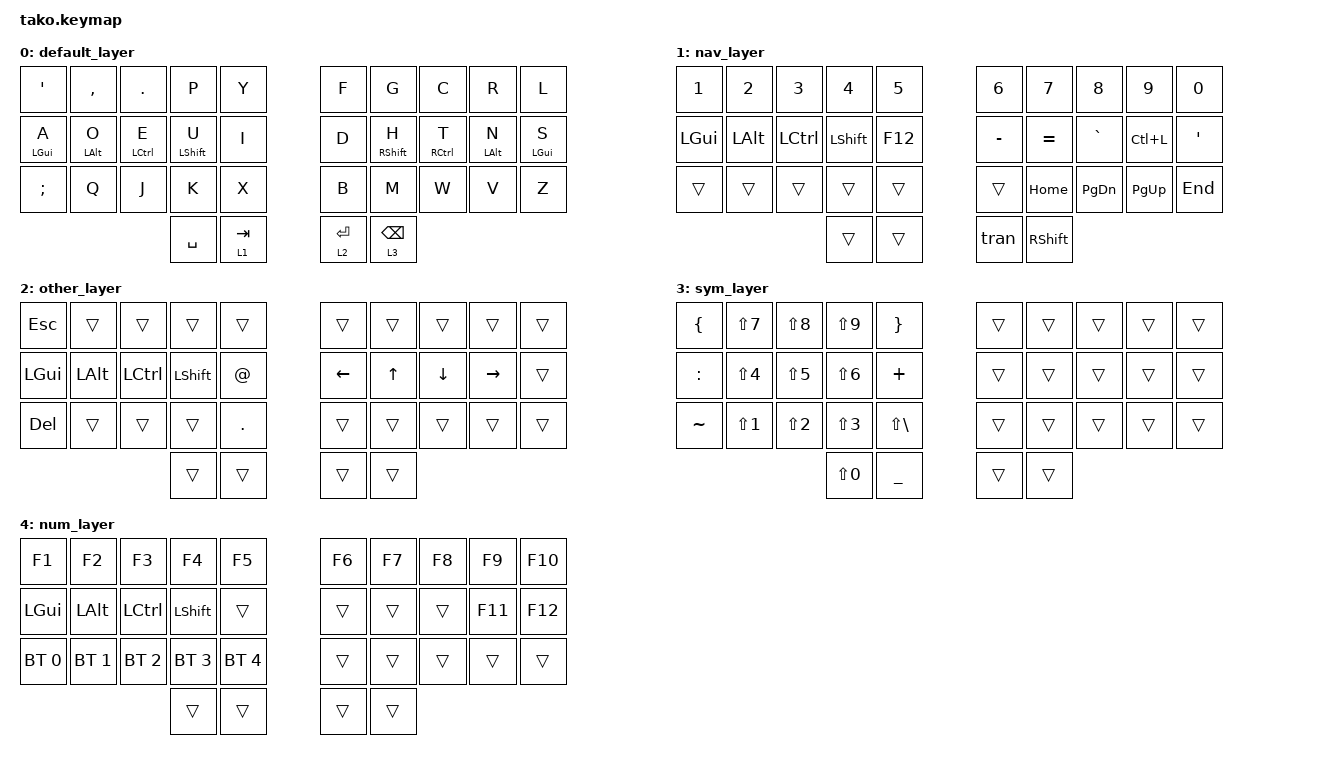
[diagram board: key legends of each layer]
/*
 * Copyright (c) 2020 The ZMK Contributors
 *
 * SPDX-License-Identifier: MIT
 */

#include <behaviors.dtsi>
#include <dt-bindings/zmk/bt.h>
#include <dt-bindings/zmk/keys.h>

#define NAV_L 1
#define OTHER_L 2
#define NUM_L 3
#define SYM_L 4

// Using layer taps on thumbs, having quick tap as well helps w/ repeating space/backspace

&lt { quick_tap_ms = <150>; };

/ {
    conditional_layers {
        compatible = "zmk,conditional-layers";
        tri_layer {
            if-layers = <1 2>;
            then-layer = <4>;
        };
    };

    behaviors {
        hm: homerow_mods {
            compatible = "zmk,behavior-hold-tap";
            label = "homerow mods";
            #binding-cells = <2>;
            tapping_term_ms = <150>;
            flavor = "tap-preferred";
            bindings = <&kp>, <&kp>;
        };
    };

    combos {
        compatible = "zmk,combos";

        left_bkt {
            bindings = <&kp LEFT_BRACKET>;
            key-positions = <2 3>;
        };

        right_bkt {
            bindings = <&kp RBKT>;
            key-positions = <7 6>;
        };

        left_par {
            bindings = <&kp LPAR>;
            key-positions = <13 12>;
        };

        right_par {
            bindings = <&kp RPAR>;
            key-positions = <16 17>;
        };

        left_brc {
            bindings = <&kp LBRC>;
            key-positions = <22 23>;
        };

        right_brc {
            bindings = <&kp RBRC>;
            key-positions = <26 27>;
        };

        blsh {
            bindings = <&kp BSLH>;
            key-positions = <4 5>;
        };

        pipe {
            bindings = <&kp PIPE>;
            key-positions = <14 15>;
        };
    };

    keymap {
        compatible = "zmk,keymap";

        default_layer {
            bindings = <
//&kp Q       &kp W       &kp E        &kp R            &kp T          &kp Y          &kp U            &kp I        &kp O       &kp P
//&hm LGUI A  &hm LALT S  &hm LCTRL D  &hm LSHFT F      &kp G          &kp H          &hm RSHFT J      &hm RCTRL K  &hm LALT L  &hm LGUI SEMI
//&kp Z       &kp X       &kp C        &kp V            &kp B          &kp N          &kp M            &kp COMMA    &kp DOT     &kp FSLH
 //                                    &lt NAV_L SPACE  &lt 2 ENTER    &lt NUM_L TAB  &lt 2 BACKSPACE


                &kp QUOT  &kp COMMA  &kp DOT    &kp P      &kp Y      &kp F      &kp G      &kp C      &kp R      &kp L
                &hm LGUI A &hm LALT O &hm LCTRL E &hm LSHFT U &kp I      &kp D      &hm RSHFT H &hm RCTRL T &hm LALT N &hm LGUI S
                &kp SCLN   &kp Q      &kp J       &kp K      &kp X      &kp B      &kp M      &kp W      &kp V      &kp Z
                                                     &kp SPACE &lt 1 TAB       &lt 2 ENTER  &lt 3 BKSP
            >;
        };


        nav_layer {
            bindings = <
            &kp NUMBER_1  &kp NUMBER_2  &kp NUMBER_3  &kp NUMBER_4    &kp N5     &kp NUMBER_6  &kp N7     &kp N8     &kp N9     &kp N0
            &kp LEFT_GUI  &kp LEFT_ALT  &kp LCTRL     &kp LEFT_SHIFT  &kp F12    &kp MINUS     &kp EQUAL  &kp GRAVE  &kp LC(L)  &kp SQT
            &trans        &trans        &trans        &trans          &trans     &trans        &kp HOME   &kp PG_DN  &kp PG_UP  &kp END
                                        &trans      &trans      &tran      &kp RSHFT
            >;
        };
        other_layer {
            bindings = <
            &kp ESC       &trans           &trans           &trans           &trans             &trans            &trans        &trans          &trans     &trans
            &kp LEFT_GUI  &kp LEFT_ALT     &kp LCTRL        &kp LEFT_SHIFT   &kp AT_SIGN        &kp LEFT_ARROW    &kp UP_ARROW  &kp DOWN_ARROW  &kp RIGHT  &trans
            &kp DEL       &trans           &trans           &trans           &kp DOT            &trans            &trans        &trans          &trans     &trans
                                           &trans           &trans             &trans  &trans
            >;
        };


        sym_layer {
            bindings = <
            &kp LBRC   &kp LS(N7)  &kp LS(N8)  &kp LS(N9)  &kp RBRC        &trans  &trans  &trans  &trans  &trans
            &kp COLON  &kp LS(N4)  &kp LS(N5)  &kp LS(N6)  &kp PLUS        &trans  &trans  &trans  &trans  &trans
            &kp TILDE  &kp LS(N1)  &kp LS(N2)  &kp LS(N3)  &kp LS(BSLH)    &trans  &trans  &trans  &trans  &trans
                                            &kp LS(N0)  &kp UNDER       &trans  &trans
            >;
        };
        num_layer {
            bindings = <
            &kp F1        &kp F2        &kp F3        &kp F4          &kp F5          &kp F6  &kp F7  &kp F8  &kp F9   &kp F10
            &kp LEFT_GUI  &kp LEFT_ALT  &kp LCTRL     &kp LEFT_SHIFT  &trans          &trans  &trans  &trans  &kp F11  &kp F12
            &bt BT_SEL 0  &bt BT_SEL 1  &bt BT_SEL 2  &bt BT_SEL 3    &bt BT_SEL 4    &trans  &trans  &trans  &trans   &trans
                                                      &trans          &trans          &trans  &trans
            >;
        };
    };
};
